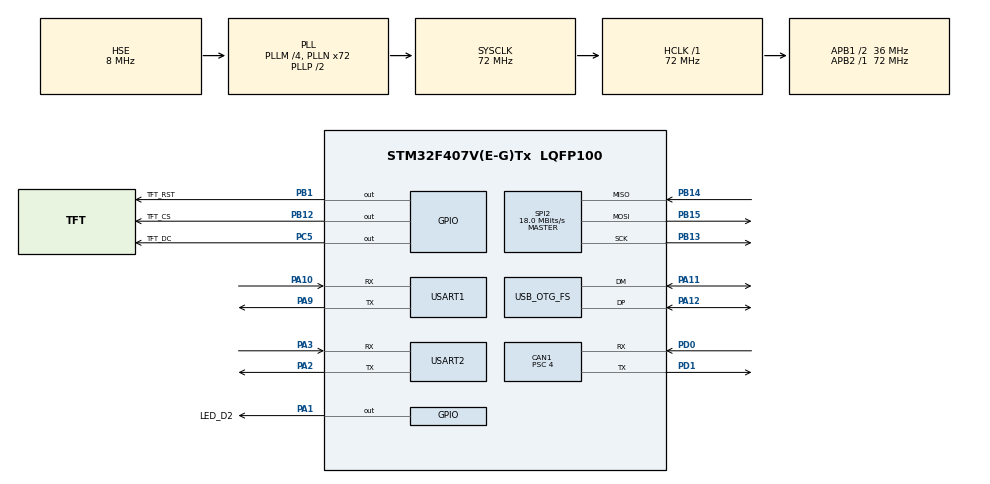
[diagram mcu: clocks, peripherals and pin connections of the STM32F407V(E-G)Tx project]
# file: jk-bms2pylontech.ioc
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CAN1.BS1=CAN_BS1_9TQ
CAN1.BS2=CAN_BS2_8TQ
CAN1.CalculateBaudRate=500000
CAN1.CalculateTimeBit=2000
CAN1.CalculateTimeQuantum=111.11111111111111
CAN1.Mode=CAN_MODE_NORMAL
CAN1.Prescaler=4
FREERTOS.HEAP_NUMBER=1
FREERTOS.Queues01=consoleOutputQueue,32,uint8_t,0,Dynamic,NULL,NULL
FREERTOS.Tasks01=getBMSDataTask,24,128,startGetBMSDataTask,Default,NULL,Dynamic,NULL,NULL;every10msTask,24,128,startEvery10msTask,Default,NULL,Dynamic,NULL,NULL;consoleOutputTa,8,128,startConsoleOutputTask,Default,NULL,Dynamic,NULL,NULL
FREERTOS.configCHECK_FOR_STACK_OVERFLOW=0
FREERTOS.configMINIMAL_STACK_SIZE=128
FREERTOS.configUSE_NEWLIB_REENTRANT=1
Mcu.Family=STM32F4
Mcu.Name=STM32F407V(E-G)Tx
Mcu.Package=LQFP100
NVIC.OTG_FS_IRQn=true\:5\:0\:false\:false\:true\:true\:false\:true
NVIC.PriorityGroup=NVIC_PRIORITYGROUP_4
NVIC.TIM1_UP_TIM10_IRQn=true\:15\:0\:false\:false\:true\:false\:false\:true
NVIC.TimeBase=TIM1_UP_TIM10_IRQn
NVIC.TimeBaseIP=TIM1
NVIC.USART1_IRQn=true\:5\:0\:false\:false\:true\:true\:true\:true
PA0-WKUP.Mode=SYS_WakeUp0
PA0-WKUP.Signal=SYS_WKUP
PA1.GPIO_Label=LED_D2
PA1.Signal=GPIO_Output
PA10.Mode=Asynchronous
PA10.Signal=USART1_RX
PA11.Mode=Device_Only
PA11.Signal=USB_OTG_FS_DM
PA12.Mode=Device_Only
PA12.Signal=USB_OTG_FS_DP
PA13.Mode=JTAG_4_pins
PA13.Signal=SYS_JTMS-SWDIO
PA14.Mode=JTAG_4_pins
PA14.Signal=SYS_JTCK-SWCLK
PA15.Mode=JTAG_4_pins
PA15.Signal=SYS_JTDI
PA2.Mode=Asynchronous
PA2.Signal=USART2_TX
PA3.Mode=Asynchronous
PA3.Signal=USART2_RX
PA9.Mode=Asynchronous
PA9.Signal=USART1_TX
PB1.GPIO_Label=TFT_RST
PB1.Signal=GPIO_Output
PB12.GPIO_Label=TFT_CS
PB12.Signal=GPIO_Output
PB13.Mode=Full_Duplex_Master
PB13.Signal=SPI2_SCK
PB14.Mode=Full_Duplex_Master
PB14.Signal=SPI2_MISO
PB15.Mode=Full_Duplex_Master
PB15.Signal=SPI2_MOSI
PB3.Mode=JTAG_4_pins
PB3.Signal=SYS_JTDO-SWO
PC5.GPIO_Label=TFT_DC
PC5.Signal=GPIO_Output
PD0.Mode=CAN_Activate
PD0.Signal=CAN1_RX
PD1.Mode=CAN_Activate
PD1.Signal=CAN1_TX
PH0-OSC_IN.Mode=HSE-External-Oscillator
PH0-OSC_IN.Signal=RCC_OSC_IN
PH1-OSC_OUT.Mode=HSE-External-Oscillator
PH1-OSC_OUT.Signal=RCC_OSC_OUT
ProjectManager.HeapSize=0x200
ProjectManager.StackSize=0x400
ProjectManager.TargetToolchain=STM32CubeIDE
RCC.48MHZClocksFreq_Value=48000000
RCC.AHBFreq_Value=72000000
RCC.APB1CLKDivider=RCC_HCLK_DIV2
RCC.APB1Freq_Value=36000000
RCC.APB1TimFreq_Value=72000000
RCC.APB2Freq_Value=72000000
RCC.APB2TimFreq_Value=72000000
RCC.CortexFreq_Value=72000000
RCC.HCLKFreq_Value=72000000
RCC.HSE_VALUE=8000000
RCC.HSI_VALUE=16000000
RCC.LSE_VALUE=32768
RCC.PLLM=4
RCC.PLLN=72
RCC.PLLQ=3
RCC.SYSCLKFreq_VALUE=72000000
RCC.SYSCLKSource=RCC_SYSCLKSOURCE_PLLCLK
RCC.VCOOutputFreq_Value=144000000
SPI2.BaudRatePrescaler=SPI_BAUDRATEPRESCALER_2
SPI2.CalculateBaudRate=18.0 MBits/s
SPI2.Direction=SPI_DIRECTION_2LINES
SPI2.Mode=SPI_MODE_MASTER
SPI2.VirtualType=VM_MASTER
USART1.VirtualMode=VM_ASYNC
USART2.VirtualMode=VM_ASYNC
USB_DEVICE.CLASS_NAME_FS=CDC
USB_DEVICE.VirtualMode-CDC_FS=Cdc
USB_DEVICE.VirtualModeFS=Cdc_FS
USB_OTG_FS.VirtualMode=Device_Only
VP_FREERTOS_VS_CMSIS_V2.Mode=CMSIS_V2
VP_SYS_VS_tim1.Mode=TIM1
VP_USB_DEVICE_VS_USB_DEVICE_CDC_FS.Mode=CDC_FS
board=custom

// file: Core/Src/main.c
/* USER CODE BEGIN Header */
/**
  ******************************************************************************
  * @file           : main.c
  * @brief          : Main program body
  ******************************************************************************
  * @attention
  *
  * Copyright (c) 2022 STMicroelectronics.
  * All rights reserved.
  *
  * This software is licensed under terms that can be found in the LICENSE file
  * in the root directory of this software component.
  * If no LICENSE file comes with this software, it is provided AS-IS.
  *
  ******************************************************************************
  */
/* USER CODE END Header */
#include "main.h"
#include "cmsis_os.h"
#include "usb_device.h"

/* USER CODE BEGIN Includes */
#include "jk_bms_485.h"
#include "jk_bms_pylon.h"

#include "ILI9341_GFX.h"
#include "ILI9341_STM32_Driver.h"

#define	__ENABLE_CONSOLE_DEBUG__	1
/* USER CODE END Includes */

/* USER CODE BEGIN PM */
#ifdef __ENABLE_CONSOLE_DEBUG__
#ifdef __GNUC__
/* With GCC/RAISONANCE, small printf (option LD Linker->Libraries->Small printf
set to 'Yes') calls __io_putchar() */
#define PUTCHAR_PROTOTYPE int __io_putchar(int ch)
#else
#define PUTCHAR_PROTOTYPE int fputc(int ch, FILE *f)
#endif /* __GNUC__ */
#endif /* __ENABLE_CONSOLE_DEBUG__ */

/* USER CODE END PM */

CAN_HandleTypeDef hcan1;

SPI_HandleTypeDef hspi2;

UART_HandleTypeDef huart1;
UART_HandleTypeDef huart2;

/* Definitions for getBMSDataTask */
osThreadId_t getBMSDataTaskHandle;
const osThreadAttr_t getBMSDataTask_attributes = {
  .name = "getBMSDataTask",
  .stack_size = 128 * 4,
  .priority = (osPriority_t) osPriorityNormal,
};
/* Definitions for every10msTask */
osThreadId_t every10msTaskHandle;
const osThreadAttr_t every10msTask_attributes = {
  .name = "every10msTask",
  .stack_size = 128 * 4,
  .priority = (osPriority_t) osPriorityNormal,
};
/* Definitions for consoleOutputTa */
osThreadId_t consoleOutputTaHandle;
const osThreadAttr_t consoleOutputTa_attributes = {
  .name = "consoleOutputTa",
  .stack_size = 128 * 4,
  .priority = (osPriority_t) osPriorityLow,
};
/* Definitions for consoleOutputQueue */
osMessageQueueId_t consoleOutputQueueHandle;
const osMessageQueueAttr_t consoleOutputQueue_attributes = {
  .name = "consoleOutputQueue"
};

void SystemClock_Config(void);
static void MX_GPIO_Init(void);
static void MX_CAN1_Init(void);
static void MX_USART1_UART_Init(void);
static void MX_USART2_UART_Init(void);
static void MX_SPI2_Init(void);
void startGetBMSDataTask(void *argument);
void startEvery10msTask(void *argument);
void startConsoleOutputTask(void *argument);

/* USER CODE BEGIN 0 */
uint8_t				USB_Console_TX_Buffer[256];
uint8_t				USB_Console_TX_Buffer_Count = 0;
uint8_t             UART_Rx_Buffer[1024];
uint16_t			UART_Rx_Size;
uint16_t			UART_Rx_Current_Size;

uint8_t				dataReady;
uint8_t				lcd_soc;
uint16_t			lcd_alarms = 523;
uint16_t			lcd_temp;
/* USER CODE END 0 */

int main(void)
{

  /* MCU Configuration--------------------------------------------------------*/

  /* Reset of all peripherals, Initializes the Flash interface and the Systick. */
  HAL_Init();

  /* Configure the system clock */
  SystemClock_Config();

  /* Initialize all configured peripherals */
  MX_GPIO_Init();
  MX_CAN1_Init();
  MX_USART1_UART_Init();
  MX_USART2_UART_Init();
  MX_SPI2_Init();

  /* Init scheduler */
  osKernelInitialize();

  /* Create the queue(s) */
  /* creation of consoleOutputQueue */
  consoleOutputQueueHandle = osMessageQueueNew (32, sizeof(uint8_t), &consoleOutputQueue_attributes);

  /* Create the thread(s) */
  /* creation of getBMSDataTask */
  getBMSDataTaskHandle = osThreadNew(startGetBMSDataTask, NULL, &getBMSDataTask_attributes);

  /* creation of every10msTask */
  every10msTaskHandle = osThreadNew(startEvery10msTask, NULL, &every10msTask_attributes);

  /* creation of consoleOutputTa */
  consoleOutputTaHandle = osThreadNew(startConsoleOutputTask, NULL, &consoleOutputTa_attributes);

  /* USER CODE BEGIN RTOS_EVENTS */
  /* add events, ... */
  ILI9341_Init();
  ILI9341_Fill_Screen(WHITE);
  ILI9341_Set_Rotation(SCREEN_HORIZONTAL_2);
  //ILI9341_Init();
  //ILI9341_FillScreen(ILI9341_BLACK);
  /* USER CODE END RTOS_EVENTS */

  /* Start scheduler */
  osKernelStart();

  /* We should never get here as control is now taken by the scheduler */
  /* Infinite loop */
  while (1)
  {

  }
}

void SystemClock_Config(void)
{
  RCC_OscInitTypeDef RCC_OscInitStruct = {0};
  RCC_ClkInitTypeDef RCC_ClkInitStruct = {0};

  /** Configure the main internal regulator output voltage
  */
  __HAL_RCC_PWR_CLK_ENABLE();
  __HAL_PWR_VOLTAGESCALING_CONFIG(PWR_REGULATOR_VOLTAGE_SCALE1);
  /** Initializes the RCC Oscillators according to the specified parameters
  * in the RCC_OscInitTypeDef structure.
  */
  RCC_OscInitStruct.OscillatorType = RCC_OSCILLATORTYPE_HSE;
  RCC_OscInitStruct.HSEState = RCC_HSE_ON;
  RCC_OscInitStruct.PLL.PLLState = RCC_PLL_ON;
  RCC_OscInitStruct.PLL.PLLSource = RCC_PLLSOURCE_HSE;
  RCC_OscInitStruct.PLL.PLLM = 4;
  RCC_OscInitStruct.PLL.PLLN = 72;
  RCC_OscInitStruct.PLL.PLLP = RCC_PLLP_DIV2;
  RCC_OscInitStruct.PLL.PLLQ = 3;
  if (HAL_RCC_OscConfig(&RCC_OscInitStruct) != HAL_OK)
  {
    Error_Handler();
  }
  /** Initializes the CPU, AHB and APB buses clocks
  */
  RCC_ClkInitStruct.ClockType = RCC_CLOCKTYPE_HCLK|RCC_CLOCKTYPE_SYSCLK
                              |RCC_CLOCKTYPE_PCLK1|RCC_CLOCKTYPE_PCLK2;
  RCC_ClkInitStruct.SYSCLKSource = RCC_SYSCLKSOURCE_PLLCLK;
  RCC_ClkInitStruct.AHBCLKDivider = RCC_SYSCLK_DIV1;
  RCC_ClkInitStruct.APB1CLKDivider = RCC_HCLK_DIV2;
  RCC_ClkInitStruct.APB2CLKDivider = RCC_HCLK_DIV1;

  if (HAL_RCC_ClockConfig(&RCC_ClkInitStruct, FLASH_LATENCY_2) != HAL_OK)
  {
    Error_Handler();
  }
}

static void MX_CAN1_Init(void)
{

  hcan1.Instance = CAN1;
  hcan1.Init.Prescaler = 4;
  hcan1.Init.Mode = CAN_MODE_NORMAL;
  hcan1.Init.SyncJumpWidth = CAN_SJW_1TQ;
  hcan1.Init.TimeSeg1 = CAN_BS1_9TQ;
  hcan1.Init.TimeSeg2 = CAN_BS2_8TQ;
  hcan1.Init.TimeTriggeredMode = DISABLE;
  hcan1.Init.AutoBusOff = DISABLE;
  hcan1.Init.AutoWakeUp = DISABLE;
  hcan1.Init.AutoRetransmission = DISABLE;
  hcan1.Init.ReceiveFifoLocked = DISABLE;
  hcan1.Init.TransmitFifoPriority = DISABLE;
  if (HAL_CAN_Init(&hcan1) != HAL_OK)
  {
    Error_Handler();
  }
  /* USER CODE BEGIN CAN1_Init 2 */
  if (HAL_CAN_Start(&hcan1) != HAL_OK)
  {
      Error_Handler();
  }
  /* USER CODE END CAN1_Init 2 */

}

static void MX_SPI2_Init(void)
{

  /* SPI2 parameter configuration*/
  hspi2.Instance = SPI2;
  hspi2.Init.Mode = SPI_MODE_MASTER;
  hspi2.Init.Direction = SPI_DIRECTION_2LINES;
  hspi2.Init.DataSize = SPI_DATASIZE_8BIT;
  hspi2.Init.CLKPolarity = SPI_POLARITY_LOW;
  hspi2.Init.CLKPhase = SPI_PHASE_1EDGE;
  hspi2.Init.NSS = SPI_NSS_SOFT;
  hspi2.Init.BaudRatePrescaler = SPI_BAUDRATEPRESCALER_2;
  hspi2.Init.FirstBit = SPI_FIRSTBIT_MSB;
  hspi2.Init.TIMode = SPI_TIMODE_DISABLE;
  hspi2.Init.CRCCalculation = SPI_CRCCALCULATION_DISABLE;
  hspi2.Init.CRCPolynomial = 10;
  if (HAL_SPI_Init(&hspi2) != HAL_OK)
  {
    Error_Handler();
  }
  /* USER CODE BEGIN SPI2_Init 2 */
  lcd_spi = hspi2;

  /* USER CODE END SPI2_Init 2 */

}

static void MX_USART1_UART_Init(void)
{

  huart1.Instance = USART1;
  huart1.Init.BaudRate = 115200;
  huart1.Init.WordLength = UART_WORDLENGTH_8B;
  huart1.Init.StopBits = UART_STOPBITS_1;
  huart1.Init.Parity = UART_PARITY_NONE;
  huart1.Init.Mode = UART_MODE_TX_RX;
  huart1.Init.HwFlowCtl = UART_HWCONTROL_NONE;
  huart1.Init.OverSampling = UART_OVERSAMPLING_16;
  if (HAL_UART_Init(&huart1) != HAL_OK)
  {
    Error_Handler();
  }
  /* USER CODE BEGIN USART1_Init 2 */
  HAL_UARTEx_ReceiveToIdle_IT(&huart1, UART_Rx_Buffer, 350);
  /* USER CODE END USART1_Init 2 */

}

static void MX_USART2_UART_Init(void)
{

  huart2.Instance = USART2;
  huart2.Init.BaudRate = 115200;
  huart2.Init.WordLength = UART_WORDLENGTH_8B;
  huart2.Init.StopBits = UART_STOPBITS_1;
  huart2.Init.Parity = UART_PARITY_NONE;
  huart2.Init.Mode = UART_MODE_TX_RX;
  huart2.Init.HwFlowCtl = UART_HWCONTROL_NONE;
  huart2.Init.OverSampling = UART_OVERSAMPLING_16;
  if (HAL_UART_Init(&huart2) != HAL_OK)
  {
    Error_Handler();
  }

}

static void MX_GPIO_Init(void)
{
  GPIO_InitTypeDef GPIO_InitStruct = {0};

  /* GPIO Ports Clock Enable */
  __HAL_RCC_GPIOH_CLK_ENABLE();
  __HAL_RCC_GPIOA_CLK_ENABLE();
  __HAL_RCC_GPIOC_CLK_ENABLE();
  __HAL_RCC_GPIOB_CLK_ENABLE();
  __HAL_RCC_GPIOD_CLK_ENABLE();

  /*Configure GPIO pin Output Level */
  HAL_GPIO_WritePin(LED_D2_GPIO_Port, LED_D2_Pin, GPIO_PIN_RESET);

  /*Configure GPIO pin Output Level */
  HAL_GPIO_WritePin(TFT_DC_GPIO_Port, TFT_DC_Pin, GPIO_PIN_RESET);

  /*Configure GPIO pin Output Level */
  HAL_GPIO_WritePin(GPIOB, TFT_RST_Pin|TFT_CS_Pin, GPIO_PIN_RESET);

  /*Configure GPIO pin : LED_D2_Pin */
  GPIO_InitStruct.Pin = LED_D2_Pin;
  GPIO_InitStruct.Mode = GPIO_MODE_OUTPUT_PP;
  GPIO_InitStruct.Pull = GPIO_NOPULL;
  GPIO_InitStruct.Speed = GPIO_SPEED_FREQ_LOW;
  HAL_GPIO_Init(LED_D2_GPIO_Port, &GPIO_InitStruct);

  /*Configure GPIO pin : TFT_DC_Pin */
  GPIO_InitStruct.Pin = TFT_DC_Pin;
  GPIO_InitStruct.Mode = GPIO_MODE_OUTPUT_PP;
  GPIO_InitStruct.Pull = GPIO_NOPULL;
  GPIO_InitStruct.Speed = GPIO_SPEED_FREQ_LOW;
  HAL_GPIO_Init(TFT_DC_GPIO_Port, &GPIO_InitStruct);

  /*Configure GPIO pins : TFT_RST_Pin TFT_CS_Pin */
  GPIO_InitStruct.Pin = TFT_RST_Pin|TFT_CS_Pin;
  GPIO_InitStruct.Mode = GPIO_MODE_OUTPUT_PP;
  GPIO_InitStruct.Pull = GPIO_NOPULL;
  GPIO_InitStruct.Speed = GPIO_SPEED_FREQ_LOW;
  HAL_GPIO_Init(GPIOB, &GPIO_InitStruct);

}

/* USER CODE BEGIN 4 */

#ifdef __ENABLE_CONSOLE_DEBUG__
PUTCHAR_PROTOTYPE
{
	//HAL_GPIO_TogglePin(LED_D2_GPIO_Port, LED_D2_Pin); //Toggle the state of pin
	USB_Console_TX_Buffer[USB_Console_TX_Buffer_Count] = ch;
	USB_Console_TX_Buffer_Count += 1;
	if (USB_Console_TX_Buffer_Count > 128) {
		CDC_Transmit_FS(USB_Console_TX_Buffer, USB_Console_TX_Buffer_Count);
		USB_Console_TX_Buffer_Count = 0;
	}
	//xQueueSend(consoleOutputQueueHandle, (void *)&ch, 1);
	//HAL_UART_Transmit(&huart2, (uint8_t *)&ch, 1, 0xFFFF);
	return ch;
}
#endif /* __ENABLE_CONSOLE_DEBUG__ */

void HAL_UARTEx_RxEventCallback(UART_HandleTypeDef *huart, uint16_t size) {
	if (huart->Instance == USART1) {
		UART_Rx_Size += size;
		if (JK_Battery_485_Check_Frame_CRC(UART_Rx_Buffer, UART_Rx_Size) == true) {
			UART_Rx_Current_Size = 10;
		} else {
			HAL_UARTEx_ReceiveToIdle_IT(huart, &UART_Rx_Buffer[UART_Rx_Size], 350);
		}
	}
}

void drawBattery(uint8_t soc) {
	if (lcd_soc != soc) {
		uint8_t x = 5;
		uint8_t yStart = 10;

		uint8_t width = 60;
		uint8_t step_height = 25;

		ILI9341_Draw_Filled_Rectangle_Coord(x + width/2 - 10, yStart, x + width/2 + 10, yStart - 5, BLACK);
		ILI9341_Draw_Filled_Rectangle_Coord(x, yStart, x + width, yStart + step_height * 5, BLACK);

		uint16_t state_color = GREEN;
		if (soc < 40) {
			state_color = ORANGE;
		}
		if (soc < 20) {
			state_color = RED;
		}

		for (int j=0; j<5; j++) {
			uint8_t current_soc = 20 * j;
			uint8_t i = 5 - j;
			if (soc > current_soc) {
				ILI9341_Draw_Filled_Rectangle_Coord(x + 4, yStart + step_height * (i - 1) + 4, x + width - 4, yStart + step_height * i - 4 , state_color);
			}
		}
		lcd_soc = soc;
	}
}

void drawVoltage_Current() {
	char str[32];
	uint16_t voltage = jk_bms_battery_info.battery_status.battery_voltage;
	int16_t current = jk_bms_battery_info.battery_status.battery_current;
	if (current > 0) {
		// charging
		ILI9341_Draw_Text_Space("<", 65, 18, BLACK, Font_26_B, WHITE, 15);
		ILI9341_Draw_Filled_Rectangle_Coord(70, 32, 105, 37, BLACK);
	} else {
		// discharging
		ILI9341_Draw_Text_Space(">", 85, 18, BLACK, Font_26_B, WHITE, 15);
		ILI9341_Draw_Filled_Rectangle_Coord(70, 32, 105, 37, BLACK);
	}

	sprintf(str, "%d", (int)(voltage/100));
	ILI9341_Draw_Text(str, 112, 10, DARKCYAN, Font_37x47, WHITE);
	ILI9341_Draw_Text(".", 190, 26, DARKCYAN, Font_34x36, WHITE);
	sprintf(str, "%02d", (int)(voltage%100));
	ILI9341_Draw_Text(str, 200, 10, DARKCYAN, Font_37x47, WHITE);

	ILI9341_Draw_Text("V", 275, 26, DARKCYAN, Font_34x36, WHITE);

	sprintf(str, "%03d", (int)(current/100));

	ILI9341_Draw_Text(str, 75, 70, DARKCYAN, Font_37x47, WHITE);
	ILI9341_Draw_Text(".", 190, 86, DARKCYAN, Font_34x36, WHITE);
	sprintf(str, "%02d", (int)(current%100));
	ILI9341_Draw_Text(str, 200, 70, DARKCYAN, Font_37x47, WHITE);
	ILI9341_Draw_Text("A", 275, 86, DARKCYAN, Font_34x36, WHITE);

}

void drawTemperature() {
	char str[32];
	sprintf(str, "%03dC", jk_bms_battery_info.battery_status.sensor_temperature_1);
	ILI9341_Draw_Text_Space(str, 80, 120, MAROON, Font_26_B, WHITE, 25);

	sprintf(str, "%03dC", jk_bms_battery_info.battery_status.sensor_temperature_2);
	ILI9341_Draw_Text_Space(str, 200, 120, MAROON, Font_26_B, WHITE, 25);
}

void drawAlarms() {
	uint16_t color = LIGHTGREY;

	if (jk_bms_battery_info.battery_alarms.charging_overvoltage) {
		color = RED;
	} else {
		color = LIGHTGREY;
	}
	ILI9341_Draw_Text_Space("COVT", 5, 200, color, Font_26_B, WHITE, 25);

	if (jk_bms_battery_info.battery_alarms.discharging_undervoltage) {
		color = RED;
	} else {
		color = LIGHTGREY;
	}
	ILI9341_Draw_Text_Space("DUVT", 110, 200, color, Font_26_B, WHITE, 25);

	if (jk_bms_battery_info.battery_alarms.low_capacity) {
		color = RED;
	} else {
		color = LIGHTGREY;
	}
	ILI9341_Draw_Text_Space("LCAP", 215, 200, color, Font_26_B, WHITE, 25);

	if (jk_bms_battery_info.battery_alarms.charging_overcurrent) {
		color = RED;
	} else {
		color = LIGHTGREY;
	}
	ILI9341_Draw_Text_Space("COVC", 5, 160, color, Font_26_B, WHITE, 25);

	if (jk_bms_battery_info.battery_alarms.discharging_overcurrent) {
		color = RED;
	} else {
		color = LIGHTGREY;
	}
	ILI9341_Draw_Text_Space("DOVC", 110, 160, color, Font_26_B, WHITE, 25);

	if (jk_bms_battery_info.battery_alarms.battery_over_temperature) {
		color = RED;
	} else {
		color = LIGHTGREY;
	}
	ILI9341_Draw_Text_Space("BOVT", 215, 160, color, Font_26_B, WHITE, 25);

}

void updateLCD() {
	taskENTER_CRITICAL();
	drawBattery(jk_bms_battery_info.battery_status.battery_soc);
	drawVoltage_Current();

	ILI9341_Draw_Filled_Rectangle_Coord(310, 5, 315, 150, RED);

	if (lcd_temp != (jk_bms_battery_info.battery_status.sensor_temperature_1 + jk_bms_battery_info.battery_status.sensor_temperature_2)) {
		drawTemperature();
		lcd_temp = jk_bms_battery_info.battery_status.sensor_temperature_1 + jk_bms_battery_info.battery_status.sensor_temperature_2;
	}

	if (lcd_alarms != jk_bms_battery_info.battery_alarms.alarm_data) {
		lcd_alarms = jk_bms_battery_info.battery_alarms.alarm_data;
		drawAlarms();
	}
	taskEXIT_CRITICAL();
}

/* USER CODE END 4 */

void startGetBMSDataTask(void *argument)
{
  /* init code for USB_DEVICE */
  MX_USB_DEVICE_Init();
  /* USER CODE BEGIN 5 */
	/* Infinite loop */
  for(;;)
  {
	  if (dataReady == 5) {
		  updateLCD();
		  dataReady = 0;
	  }
	  if (UART_Rx_Current_Size == 0) {
		  UART_Rx_Size = 0;
		  HAL_UARTEx_ReceiveToIdle_IT(&huart1, UART_Rx_Buffer, 350);
		  Request_JK_Battery_485_Status_Frame(huart1);
		  HAL_GPIO_TogglePin(LED_D2_GPIO_Port, LED_D2_Pin); //Toggle the state of pin
	  }

	  osDelay(1000);
  }
  /* USER CODE END 5 */
}

void startEvery10msTask(void *argument)
{
  /* USER CODE BEGIN startEvery10msTask */
  /* Infinite loop */
  for(;;)
  {
	  if (UART_Rx_Current_Size > 0) {
		#ifdef __ENABLE_CONSOLE_DEBUG__
		  printf("------------------------------------\r\n");
		  for (int i=0; i<20; i++) {
			  for (int j=0; j<16; j++) {
				  printf("%02X ", UART_Rx_Buffer[16*i + j]);
			 }
			 printf("\r\n");
		  }
		#endif /* __ENABLE_CONSOLE_DEBUG__ */
		  Parse_JK_Battery_485_Status_Frame(&UART_Rx_Buffer[11]);

		  for (int i=0; i<200; i++) {
		   UART_Rx_Buffer[i] = 0;
		  }
		  Tx_JK_BMS_Status_via_CAN(hcan1);
		  UART_Rx_Current_Size = 0;
		  dataReady += 1;
	  }
	  osDelay(100);
  }
  /* USER CODE END startEvery10msTask */
}

void startConsoleOutputTask(void *argument)
{
  /* USER CODE BEGIN startConsoleOutputTask */
  /* Infinite loop */
	uint8_t count = 0;
	for(;;)
	{
		count = USB_Console_TX_Buffer_Count;
		osDelay(200);
		taskENTER_CRITICAL();
		if (count > 0 && USB_Console_TX_Buffer_Count == count) {
			CDC_Transmit_FS(USB_Console_TX_Buffer, USB_Console_TX_Buffer_Count);
			USB_Console_TX_Buffer_Count = 0;
		}
		taskEXIT_CRITICAL();
	}
  /* USER CODE END startConsoleOutputTask */
}

void HAL_TIM_PeriodElapsedCallback(TIM_HandleTypeDef *htim)
{
  if (htim->Instance == TIM1) {
    HAL_IncTick();
  }
}

void Error_Handler(void)
{
  __disable_irq();
  while (1)
  {
  }
}
